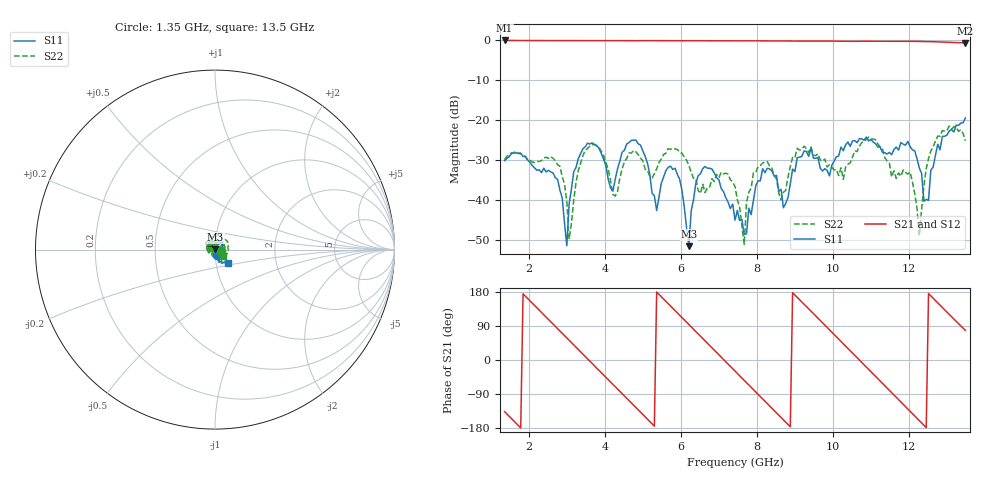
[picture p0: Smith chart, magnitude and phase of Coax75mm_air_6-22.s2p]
!Agilent Technologies,N5230C,MY48100320,A.08.04.10
!Agilent N5230C: A.08.04.10
!Date: Tuesday, August 23, 2016 04:12:32
!Correction: S11(Full 2 Port(1,2))
!S21(Full 2 Port(1,2))
!S12(Full 2 Port(1,2))
!S22(Full 2 Port(1,2))
!S2P File: Measurements: S11, S21, S12, S22:
# Hz S  dB  R 50
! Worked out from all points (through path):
!   201 points, 1.35 GHz to 13.5 GHz, reference 50 ohm
!   highest |S21| = -0.10 dB at 1.35 GHz (marker M1); lowest = -0.7 dB at 13.5 GHz (marker M2)
!   group delay of S21, straight-line fit = 280 ps
!   lowest |S11| = -51.4 dB at 6.21 GHz (marker M3), VSWR 1.01, Z = 50.2 + j0.209 ohm
!   |S11| at or under -10 dB: start of sweep to end of sweep
!   |S22| runs from -51.0 to -21.4 dB; largest |S21 - S12| = 0.0052
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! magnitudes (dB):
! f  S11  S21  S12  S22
! 1.35 GHz  -30.1  -0.1  -0.1  -29.8
! 2.626 GHz  -33.1  -0.1  -0.1  -29.5
! 2.99 GHz  -51.3  -0.1  -0.2  -40.2
! 3.051 GHz  -40.9  -0.1  -0.2  -49.7
! 3.416 GHz  -27.1  -0.1  -0.2  -28.8
! 4.205 GHz  -37.7  -0.1  -0.2  -38.5
! 4.813 GHz  -25.0  -0.2  -0.2  -27.9
! 5.42 GHz  -39.2  -0.2  -0.2  -30.5
! 5.846 GHz  -32.0  -0.2  -0.2  -27.2
! 6.21 GHz  -51.4  -0.2  -0.2  -31.3
! 6.635 GHz  -31.5  -0.2  -0.2  -38.0
! 7.425 GHz  -44.9  -0.2  -0.2  -36.6
! 7.668 GHz  -48.5  -0.2  -0.2  -51.0
! 8.033 GHz  -35.1  -0.2  -0.2  -31.6
! 8.64 GHz  -37.2  -0.2  -0.2  -39.8
! 9.491 GHz  -29.4  -0.3  -0.3  -28.7
! 11.5 GHz  -28.0  -0.3  -0.3  -30.7
! 12.04 GHz  -26.5  -0.3  -0.3  -32.9
! 12.29 GHz  -31.9  -0.3  -0.3  -48.8
! 12.53 GHz  -40.0  -0.4  -0.4  -29.6
! 12.77 GHz  -26.0  -0.4  -0.5  -24.0
! 13.5 GHz  -19.4  -0.7  -0.7  -25.1
